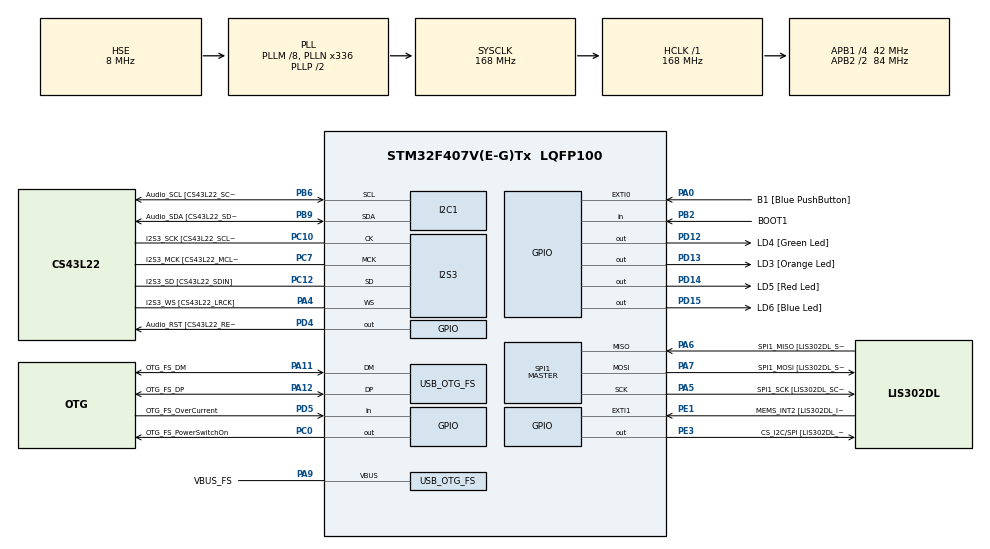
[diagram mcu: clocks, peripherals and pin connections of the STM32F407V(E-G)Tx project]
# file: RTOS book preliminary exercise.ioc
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I2S3.AudioFreq-Half_Duplex_Master=I2S_AUDIOFREQ_96K
I2S3.ErrorAudioFreq=-2.34 %
I2S3.ErrorAudioFreq-Half_Duplex_Master=0.8 %
I2S3.FullDuplexMode=I2S_FULLDUPLEXMODE_DISABLE
I2S3.Instance=SPI$Index
I2S3.RealAudioFreq=93.75 KHz
I2S3.RealAudioFreq-Half_Duplex_Master=96.774 KHz
I2S3.VirtualMode=I2S_MODE_MASTER
Mcu.Family=STM32F4
Mcu.Name=STM32F407V(E-G)Tx
Mcu.Package=LQFP100
NVIC.OTG_FS_IRQn=true\:0\:0\:false\:false\:true\:true\:true\:true
NVIC.PriorityGroup=NVIC_PRIORITYGROUP_0
PA0-WKUP.GPIO_Label=B1 [Blue PushButton]
PA0-WKUP.GPIO_ModeDefaultEXTI=GPIO_MODE_EVT_RISING
PA0-WKUP.GPIO_PuPd=GPIO_NOPULL
PA0-WKUP.Signal=GPXTI0
PA10.GPIO_Label=OTG_FS_ID
PA10.GPIO_Mode=GPIO_MODE_AF_PP
PA10.GPIO_PuPd=GPIO_NOPULL
PA10.GPIO_Speed=GPIO_SPEED_FREQ_LOW
PA10.Signal=USB_OTG_FS_ID
PA11.GPIO_Label=OTG_FS_DM
PA11.GPIO_Mode=GPIO_MODE_AF_PP
PA11.GPIO_PuPd=GPIO_NOPULL
PA11.GPIO_Speed=GPIO_SPEED_FREQ_LOW
PA11.Mode=Host_Only
PA11.Signal=USB_OTG_FS_DM
PA12.GPIO_Label=OTG_FS_DP
PA12.GPIO_Mode=GPIO_MODE_AF_PP
PA12.GPIO_PuPd=GPIO_NOPULL
PA12.GPIO_Speed=GPIO_SPEED_FREQ_LOW
PA12.Mode=Host_Only
PA12.Signal=USB_OTG_FS_DP
PA13.GPIO_Label=SWDIO
PA13.Mode=Serial_Wire
PA13.Signal=SYS_JTMS-SWDIO
PA14.GPIO_Label=SWCLK
PA14.Mode=Serial_Wire
PA14.Signal=SYS_JTCK-SWCLK
PA4.GPIO_Label=I2S3_WS [CS43L22_LRCK]
PA4.GPIO_Mode=GPIO_MODE_AF_PP
PA4.GPIO_PuPd=GPIO_NOPULL
PA4.GPIO_Speed=GPIO_SPEED_FREQ_LOW
PA4.Mode=Half_Duplex_Master
PA4.Signal=I2S3_WS
PA5.GPIO_Label=SPI1_SCK [LIS302DL_SCL/SPC]
PA5.GPIO_Mode=GPIO_MODE_AF_PP
PA5.GPIO_PuPd=GPIO_NOPULL
PA5.GPIO_Speed=GPIO_SPEED_FREQ_LOW
PA5.Mode=Full_Duplex_Master
PA5.Signal=SPI1_SCK
PA6.GPIO_Label=SPI1_MISO [LIS302DL_SDO]
PA6.GPIO_Mode=GPIO_MODE_AF_PP
PA6.GPIO_PuPd=GPIO_NOPULL
PA6.GPIO_Speed=GPIO_SPEED_FREQ_LOW
PA6.Mode=Full_Duplex_Master
PA6.Signal=SPI1_MISO
PA7.GPIO_Label=SPI1_MOSI [LIS302DL_SDA/SDI/SDO]
PA7.GPIO_Mode=GPIO_MODE_AF_PP
PA7.GPIO_PuPd=GPIO_NOPULL
PA7.GPIO_Speed=GPIO_SPEED_FREQ_LOW
PA7.Mode=Full_Duplex_Master
PA7.Signal=SPI1_MOSI
PA9.GPIO_Label=VBUS_FS
PA9.GPIO_Mode=GPIO_MODE_INPUT
PA9.GPIO_PuPd=GPIO_NOPULL
PA9.Mode=Activate_VBUS
PA9.Signal=USB_OTG_FS_VBUS
PB10.GPIO_Label=CLK_IN [MP45DT02_CLK]
PB10.GPIO_Mode=GPIO_MODE_AF_PP
PB10.GPIO_PuPd=GPIO_NOPULL
PB10.GPIO_Speed=GPIO_SPEED_FREQ_LOW
PB10.Signal=I2S2_CK
PB2.GPIO_Label=BOOT1
PB2.GPIO_Mode=GPIO_MODE_INPUT
PB2.GPIO_PuPd=GPIO_NOPULL
PB2.Signal=GPIO_Input
PB3.GPIO_Label=SWO
PB3.Signal=SYS_JTDO-SWO
PB6.GPIO_Label=Audio_SCL [CS43L22_SCL]
PB6.GPIO_Mode=GPIO_MODE_AF_OD
PB6.GPIO_Pu=GPIO_PULLUP
PB6.GPIO_PuPd=GPIO_NOPULL
PB6.GPIO_Speed=GPIO_SPEED_FREQ_LOW
PB6.Mode=I2C
PB6.Signal=I2C1_SCL
PB9.GPIO_Label=Audio_SDA [CS43L22_SDA]
PB9.GPIO_Mode=GPIO_MODE_AF_OD
PB9.GPIO_Pu=GPIO_PULLUP
PB9.GPIO_PuPd=GPIO_NOPULL
PB9.GPIO_Speed=GPIO_SPEED_FREQ_LOW
PB9.Mode=I2C
PB9.Signal=I2C1_SDA
PC0.GPIO_Label=OTG_FS_PowerSwitchOn
PC0.GPIO_PuPd=GPIO_NOPULL
PC0.GPIO_Speed=GPIO_SPEED_FREQ_LOW
PC0.PinState=GPIO_PIN_SET
PC0.Signal=GPIO_Output
PC10.GPIO_Label=I2S3_SCK [CS43L22_SCLK]
PC10.GPIO_Mode=GPIO_MODE_AF_PP
PC10.GPIO_PuPd=GPIO_NOPULL
PC10.GPIO_Speed=GPIO_SPEED_FREQ_LOW
PC10.Mode=Half_Duplex_Master
PC10.Signal=I2S3_CK
PC12.GPIO_Label=I2S3_SD [CS43L22_SDIN]
PC12.GPIO_Mode=GPIO_MODE_AF_PP
PC12.GPIO_PuPd=GPIO_NOPULL
PC12.GPIO_Speed=GPIO_SPEED_FREQ_LOW
PC12.Mode=Half_Duplex_Master
PC12.Signal=I2S3_SD
PC14-OSC32_IN.GPIO_Label=PC14-OSC32_IN
PC14-OSC32_IN.Mode=LSE-External-Oscillator
PC14-OSC32_IN.Signal=RCC_OSC32_IN
PC15-OSC32_OUT.GPIO_Label=PC15-OSC32_OUT
PC15-OSC32_OUT.Mode=LSE-External-Oscillator
PC15-OSC32_OUT.Signal=RCC_OSC32_OUT
PC3.GPIO_Label=PDM_OUT [MP45DT02_DOUT]
PC3.GPIO_Mode=GPIO_MODE_AF_PP
PC3.GPIO_PuPd=GPIO_NOPULL
PC3.GPIO_Speed=GPIO_SPEED_FREQ_LOW
PC3.Signal=I2S2_SD
PC7.GPIO_Label=I2S3_MCK [CS43L22_MCLK]
PC7.GPIO_Mode=GPIO_MODE_AF_PP
PC7.GPIO_PuPd=GPIO_NOPULL
PC7.GPIO_Speed=GPIO_SPEED_FREQ_LOW
PC7.Mode=Master_Clock_Activated
PC7.Signal=I2S3_MCK
PD12.GPIO_Label=LD4 [Green Led]
PD12.GPIO_PuPd=GPIO_NOPULL
PD12.GPIO_Speed=GPIO_SPEED_FREQ_LOW
PD12.Signal=GPIO_Output
PD13.GPIO_Label=LD3 [Orange Led]
PD13.GPIO_PuPd=GPIO_NOPULL
PD13.GPIO_Speed=GPIO_SPEED_FREQ_LOW
PD13.Signal=GPIO_Output
PD14.GPIO_Label=LD5 [Red Led]
PD14.GPIO_PuPd=GPIO_NOPULL
PD14.GPIO_Speed=GPIO_SPEED_FREQ_LOW
PD14.Signal=GPIO_Output
PD15.GPIO_Label=LD6 [Blue Led]
PD15.GPIO_PuPd=GPIO_NOPULL
PD15.GPIO_Speed=GPIO_SPEED_FREQ_LOW
PD15.Signal=GPIO_Output
PD4.GPIO_Label=Audio_RST [CS43L22_RESET]
PD4.GPIO_PuPd=GPIO_NOPULL
PD4.GPIO_Speed=GPIO_SPEED_FREQ_LOW
PD4.Signal=GPIO_Output
PD5.GPIO_Label=OTG_FS_OverCurrent
PD5.GPIO_Mode=GPIO_MODE_INPUT
PD5.GPIO_PuPd=GPIO_NOPULL
PD5.Signal=GPIO_Input
PE1.GPIO_Label=MEMS_INT2 [LIS302DL_INT2]
PE1.GPIO_ModeDefaultEXTI=GPIO_MODE_EVT_RISING
PE1.GPIO_PuPd=GPIO_NOPULL
PE1.Signal=GPXTI1
PE3.GPIO_Label=CS_I2C/SPI [LIS302DL_CS_I2C/SPI]
PE3.GPIO_PuPd=GPIO_NOPULL
PE3.GPIO_Speed=GPIO_SPEED_FREQ_LOW
PE3.Signal=GPIO_Output
PH0-OSC_IN.GPIO_Label=PH0-OSC_IN
PH0-OSC_IN.Mode=HSE-External-Oscillator
PH0-OSC_IN.Signal=RCC_OSC_IN
PH1-OSC_OUT.GPIO_Label=PH1-OSC_OUT
PH1-OSC_OUT.Mode=HSE-External-Oscillator
PH1-OSC_OUT.Signal=RCC_OSC_OUT
ProjectManager.HeapSize=0x200
ProjectManager.StackSize=0x400
ProjectManager.TargetToolchain=Makefile
RCC.48MHZClocksFreq_Value=48000000
RCC.AHBFreq_Value=168000000
RCC.APB1CLKDivider=RCC_HCLK_DIV4
RCC.APB1Freq_Value=42000000
RCC.APB1TimFreq_Value=84000000
RCC.APB2CLKDivider=RCC_HCLK_DIV2
RCC.APB2Freq_Value=84000000
RCC.APB2TimFreq_Value=168000000
RCC.CortexFreq_Value=168000000
RCC.HCLKFreq_Value=168000000
RCC.HSE_VALUE=8000000
RCC.HSI_VALUE=16000000
RCC.PLLM=8
RCC.PLLN=336
RCC.PLLQ=7
RCC.SYSCLKFreq_VALUE=168000000
RCC.SYSCLKSource=RCC_SYSCLKSOURCE_PLLCLK
RCC.VCOOutputFreq_Value=336000000
SPI1.BaudRatePrescaler-Full_Duplex_Master=SPI_BAUDRATEPRESCALER_2
SPI1.CalculateBaudRate-Full_Duplex_Master=42.0 MBits/s
SPI1.Direction=SPI_DIRECTION_2LINES
SPI1.Mode=SPI_MODE_MASTER
SPI1.Mode-Full_Duplex_Master=SPI_MODE_MASTER
SPI1.VirtualType=VM_MASTER
USB_HOST.BSP.number=1
USB_HOST.USBH_HandleTypeDef-CDC_FS=hUsbHostFS
USB_HOST.VirtualModeFS=Cdc
USB_HOST0.BSP.STBoard=false
USB_HOST0.BSP.api=UnknownBspDriver
USB_HOST0.BSP.instance=PC0
USB_HOST0.BSP.ip=GPIO
USB_HOST0.BSP.mode=Output
USB_HOST0.BSP.name=Drive_VBUS_FS
USB_HOST0.BSP.solution=PC0
USB_OTG_FS.VirtualMode=Host_Only
USB_OTG_FS.phy_itface=HCD_PHY_EMBEDDED
VP_USB_HOST_VS_USB_HOST_CDC_FS.Mode=CDC_FS
board=STM32F407G-DISC1

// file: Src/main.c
/* USER CODE BEGIN Header */
/**
  ******************************************************************************
  * @file           : main.c
  * @brief          : Main program body
  ******************************************************************************
  * @attention
  *
  * Copyright (c) 2023 STMicroelectronics.
  * All rights reserved.
  *
  * This software is licensed under terms that can be found in the LICENSE file
  * in the root directory of this software component.
  * If no LICENSE file comes with this software, it is provided AS-IS.
  *
  ******************************************************************************
  */
/* USER CODE END Header */
//#include "main.h"
//#include "usb_host.h"

/* USER CODE BEGIN PD */
#define CS_I2C_SPI_Pin GPIO_PIN_3
#define CS_I2C_SPI_GPIO_Port GPIOE
#define PC14_OSC32_IN_Pin GPIO_PIN_14
#define PC14_OSC32_IN_GPIO_Port GPIOC
#define PC15_OSC32_OUT_Pin GPIO_PIN_15
#define PC15_OSC32_OUT_GPIO_Port GPIOC
#define PH0_OSC_IN_Pin GPIO_PIN_0
#define PH0_OSC_IN_GPIO_Port GPIOH
#define PH1_OSC_OUT_Pin GPIO_PIN_1
#define PH1_OSC_OUT_GPIO_Port GPIOH
#define OTG_FS_PowerSwitchOn_Pin GPIO_PIN_0
#define OTG_FS_PowerSwitchOn_GPIO_Port GPIOC
#define PDM_OUT_Pin GPIO_PIN_3
#define PDM_OUT_GPIO_Port GPIOC
#define B1_Pin GPIO_PIN_0
#define B1_GPIO_Port GPIOA
#define I2S3_WS_Pin GPIO_PIN_4
#define I2S3_WS_GPIO_Port GPIOA
#define SPI1_SCK_Pin GPIO_PIN_5
#define SPI1_SCK_GPIO_Port GPIOA
#define SPI1_MISO_Pin GPIO_PIN_6
#define SPI1_MISO_GPIO_Port GPIOA
#define SPI1_MOSI_Pin GPIO_PIN_7
#define SPI1_MOSI_GPIO_Port GPIOA
#define BOOT1_Pin GPIO_PIN_2
#define BOOT1_GPIO_Port GPIOB
#define CLK_IN_Pin GPIO_PIN_10
#define CLK_IN_GPIO_Port GPIOB
#define LD4_Pin GPIO_PIN_12
#define LD4_GPIO_Port GPIOD
#define LD3_Pin GPIO_PIN_13
#define LD3_GPIO_Port GPIOD
#define LD5_Pin GPIO_PIN_14
#define LD5_GPIO_Port GPIOD
#define LD6_Pin GPIO_PIN_15
#define LD6_GPIO_Port GPIOD
#define I2S3_MCK_Pin GPIO_PIN_7
#define I2S3_MCK_GPIO_Port GPIOC
#define VBUS_FS_Pin GPIO_PIN_9
#define VBUS_FS_GPIO_Port GPIOA
#define OTG_FS_ID_Pin GPIO_PIN_10
#define OTG_FS_ID_GPIO_Port GPIOA
#define OTG_FS_DM_Pin GPIO_PIN_11
#define OTG_FS_DM_GPIO_Port GPIOA
#define OTG_FS_DP_Pin GPIO_PIN_12
#define OTG_FS_DP_GPIO_Port GPIOA
#define SWDIO_Pin GPIO_PIN_13
#define SWDIO_GPIO_Port GPIOA
#define SWCLK_Pin GPIO_PIN_14
#define SWCLK_GPIO_Port GPIOA
#define I2S3_SCK_Pin GPIO_PIN_10
#define I2S3_SCK_GPIO_Port GPIOC
#define I2S3_SD_Pin GPIO_PIN_12
#define I2S3_SD_GPIO_Port GPIOC
#define Audio_RST_Pin GPIO_PIN_4
#define Audio_RST_GPIO_Port GPIOD
#define OTG_FS_OverCurrent_Pin GPIO_PIN_5
#define OTG_FS_OverCurrent_GPIO_Port GPIOD
#define SWO_Pin GPIO_PIN_3
#define SWO_GPIO_Port GPIOB
#define Audio_SCL_Pin GPIO_PIN_6
#define Audio_SCL_GPIO_Port GPIOB
#define Audio_SDA_Pin GPIO_PIN_9
#define Audio_SDA_GPIO_Port GPIOB
#define MEMS_INT2_Pin GPIO_PIN_1
#define MEMS_INT2_GPIO_Port GPIOE

/* USER CODE END PD */

I2C_HandleTypeDef hi2c1;

I2S_HandleTypeDef hi2s3;

SPI_HandleTypeDef hspi1;

void SystemClock_Config(void);
static void MX_GPIO_Init(void);
static void MX_I2C1_Init(void);
static void MX_I2S3_Init(void);
static void MX_SPI1_Init(void);
void MX_USB_HOST_Process(void);

int main(void)
{

  /* MCU Configuration--------------------------------------------------------*/

  /* Reset of all peripherals, Initializes the Flash interface and the Systick. */
  HAL_Init();

  /* Configure the system clock */
  SystemClock_Config();

  /* Initialize all configured peripherals */
  MX_GPIO_Init();
  MX_I2C1_Init();
  MX_I2S3_Init();
  MX_SPI1_Init();
  MX_USB_HOST_Init();

  /* Infinite loop */
  while (1)
  {
    MX_USB_HOST_Process();

  }
}

void SystemClock_Config(void)
{
  RCC_OscInitTypeDef RCC_OscInitStruct = {0};
  RCC_ClkInitTypeDef RCC_ClkInitStruct = {0};

  /** Configure the main internal regulator output voltage
  */
  __HAL_RCC_PWR_CLK_ENABLE();
  __HAL_PWR_VOLTAGESCALING_CONFIG(PWR_REGULATOR_VOLTAGE_SCALE1);

  /** Initializes the RCC Oscillators according to the specified parameters
  * in the RCC_OscInitTypeDef structure.
  */
  RCC_OscInitStruct.OscillatorType = RCC_OSCILLATORTYPE_HSE;
  RCC_OscInitStruct.HSEState = RCC_HSE_ON;
  RCC_OscInitStruct.PLL.PLLState = RCC_PLL_ON;
  RCC_OscInitStruct.PLL.PLLSource = RCC_PLLSOURCE_HSE;
  RCC_OscInitStruct.PLL.PLLM = 8;
  RCC_OscInitStruct.PLL.PLLN = 336;
  RCC_OscInitStruct.PLL.PLLP = RCC_PLLP_DIV2;
  RCC_OscInitStruct.PLL.PLLQ = 7;
  if (HAL_RCC_OscConfig(&RCC_OscInitStruct) != HAL_OK)
  {
    Error_Handler();
  }

  /** Initializes the CPU, AHB and APB buses clocks
  */
  RCC_ClkInitStruct.ClockType = RCC_CLOCKTYPE_HCLK|RCC_CLOCKTYPE_SYSCLK
                              |RCC_CLOCKTYPE_PCLK1|RCC_CLOCKTYPE_PCLK2;
  RCC_ClkInitStruct.SYSCLKSource = RCC_SYSCLKSOURCE_PLLCLK;
  RCC_ClkInitStruct.AHBCLKDivider = RCC_SYSCLK_DIV1;
  RCC_ClkInitStruct.APB1CLKDivider = RCC_HCLK_DIV4;
  RCC_ClkInitStruct.APB2CLKDivider = RCC_HCLK_DIV2;

  if (HAL_RCC_ClockConfig(&RCC_ClkInitStruct, FLASH_LATENCY_5) != HAL_OK)
  {
    Error_Handler();
  }
}

static void MX_I2C1_Init(void)
{

  hi2c1.Instance = I2C1;
  hi2c1.Init.ClockSpeed = 100000;
  hi2c1.Init.DutyCycle = I2C_DUTYCYCLE_2;
  hi2c1.Init.OwnAddress1 = 0;
  hi2c1.Init.AddressingMode = I2C_ADDRESSINGMODE_7BIT;
  hi2c1.Init.DualAddressMode = I2C_DUALADDRESS_DISABLE;
  hi2c1.Init.OwnAddress2 = 0;
  hi2c1.Init.GeneralCallMode = I2C_GENERALCALL_DISABLE;
  hi2c1.Init.NoStretchMode = I2C_NOSTRETCH_DISABLE;
  if (HAL_I2C_Init(&hi2c1) != HAL_OK)
  {
    Error_Handler();
  }

}

static void MX_I2S3_Init(void)
{

  hi2s3.Instance = SPI3;
  hi2s3.Init.Mode = I2S_MODE_MASTER_TX;
  hi2s3.Init.Standard = I2S_STANDARD_PHILIPS;
  hi2s3.Init.DataFormat = I2S_DATAFORMAT_16B;
  hi2s3.Init.MCLKOutput = I2S_MCLKOUTPUT_ENABLE;
  hi2s3.Init.AudioFreq = I2S_AUDIOFREQ_96K;
  hi2s3.Init.CPOL = I2S_CPOL_LOW;
  hi2s3.Init.ClockSource = I2S_CLOCK_PLL;
  hi2s3.Init.FullDuplexMode = I2S_FULLDUPLEXMODE_DISABLE;
  if (HAL_I2S_Init(&hi2s3) != HAL_OK)
  {
    Error_Handler();
  }

}

static void MX_SPI1_Init(void)
{

  /* SPI1 parameter configuration*/
  hspi1.Instance = SPI1;
  hspi1.Init.Mode = SPI_MODE_MASTER;
  hspi1.Init.Direction = SPI_DIRECTION_2LINES;
  hspi1.Init.DataSize = SPI_DATASIZE_8BIT;
  hspi1.Init.CLKPolarity = SPI_POLARITY_LOW;
  hspi1.Init.CLKPhase = SPI_PHASE_1EDGE;
  hspi1.Init.NSS = SPI_NSS_SOFT;
  hspi1.Init.BaudRatePrescaler = SPI_BAUDRATEPRESCALER_2;
  hspi1.Init.FirstBit = SPI_FIRSTBIT_MSB;
  hspi1.Init.TIMode = SPI_TIMODE_DISABLE;
  hspi1.Init.CRCCalculation = SPI_CRCCALCULATION_DISABLE;
  hspi1.Init.CRCPolynomial = 10;
  if (HAL_SPI_Init(&hspi1) != HAL_OK)
  {
    Error_Handler();
  }

}

static void MX_GPIO_Init(void)
{
  GPIO_InitTypeDef GPIO_InitStruct = {0};

  /* GPIO Ports Clock Enable */
  __HAL_RCC_GPIOE_CLK_ENABLE();
  __HAL_RCC_GPIOC_CLK_ENABLE();
  __HAL_RCC_GPIOH_CLK_ENABLE();
  __HAL_RCC_GPIOA_CLK_ENABLE();
  __HAL_RCC_GPIOB_CLK_ENABLE();
  __HAL_RCC_GPIOD_CLK_ENABLE();

  /*Configure GPIO pin Output Level */
  HAL_GPIO_WritePin(CS_I2C_SPI_GPIO_Port, CS_I2C_SPI_Pin, GPIO_PIN_RESET);

  /*Configure GPIO pin Output Level */
  HAL_GPIO_WritePin(OTG_FS_PowerSwitchOn_GPIO_Port, OTG_FS_PowerSwitchOn_Pin, GPIO_PIN_SET);

  /*Configure GPIO pin Output Level */
  HAL_GPIO_WritePin(GPIOD, LD4_Pin|LD3_Pin|LD5_Pin|LD6_Pin
                          |Audio_RST_Pin, GPIO_PIN_RESET);

  /*Configure GPIO pin : CS_I2C_SPI_Pin */
  GPIO_InitStruct.Pin = CS_I2C_SPI_Pin;
  GPIO_InitStruct.Mode = GPIO_MODE_OUTPUT_PP;
  GPIO_InitStruct.Pull = GPIO_NOPULL;
  GPIO_InitStruct.Speed = GPIO_SPEED_FREQ_LOW;
  HAL_GPIO_Init(CS_I2C_SPI_GPIO_Port, &GPIO_InitStruct);

  /*Configure GPIO pin : OTG_FS_PowerSwitchOn_Pin */
  GPIO_InitStruct.Pin = OTG_FS_PowerSwitchOn_Pin;
  GPIO_InitStruct.Mode = GPIO_MODE_OUTPUT_PP;
  GPIO_InitStruct.Pull = GPIO_NOPULL;
  GPIO_InitStruct.Speed = GPIO_SPEED_FREQ_LOW;
  HAL_GPIO_Init(OTG_FS_PowerSwitchOn_GPIO_Port, &GPIO_InitStruct);

  /*Configure GPIO pin : PDM_OUT_Pin */
  GPIO_InitStruct.Pin = PDM_OUT_Pin;
  GPIO_InitStruct.Mode = GPIO_MODE_AF_PP;
  GPIO_InitStruct.Pull = GPIO_NOPULL;
  GPIO_InitStruct.Speed = GPIO_SPEED_FREQ_LOW;
  GPIO_InitStruct.Alternate = GPIO_AF5_SPI2;
  HAL_GPIO_Init(PDM_OUT_GPIO_Port, &GPIO_InitStruct);

  /*Configure GPIO pin : B1_Pin */
  GPIO_InitStruct.Pin = B1_Pin;
  GPIO_InitStruct.Mode = GPIO_MODE_EVT_RISING;
  GPIO_InitStruct.Pull = GPIO_NOPULL;
  HAL_GPIO_Init(B1_GPIO_Port, &GPIO_InitStruct);

  /*Configure GPIO pin : BOOT1_Pin */
  GPIO_InitStruct.Pin = BOOT1_Pin;
  GPIO_InitStruct.Mode = GPIO_MODE_INPUT;
  GPIO_InitStruct.Pull = GPIO_NOPULL;
  HAL_GPIO_Init(BOOT1_GPIO_Port, &GPIO_InitStruct);

  /*Configure GPIO pin : CLK_IN_Pin */
  GPIO_InitStruct.Pin = CLK_IN_Pin;
  GPIO_InitStruct.Mode = GPIO_MODE_AF_PP;
  GPIO_InitStruct.Pull = GPIO_NOPULL;
  GPIO_InitStruct.Speed = GPIO_SPEED_FREQ_LOW;
  GPIO_InitStruct.Alternate = GPIO_AF5_SPI2;
  HAL_GPIO_Init(CLK_IN_GPIO_Port, &GPIO_InitStruct);

  /*Configure GPIO pins : LD4_Pin LD3_Pin LD5_Pin LD6_Pin
                           Audio_RST_Pin */
  GPIO_InitStruct.Pin = LD4_Pin|LD3_Pin|LD5_Pin|LD6_Pin
                          |Audio_RST_Pin;
  GPIO_InitStruct.Mode = GPIO_MODE_OUTPUT_PP;
  GPIO_InitStruct.Pull = GPIO_NOPULL;
  GPIO_InitStruct.Speed = GPIO_SPEED_FREQ_LOW;
  HAL_GPIO_Init(GPIOD, &GPIO_InitStruct);

  /*Configure GPIO pin : OTG_FS_OverCurrent_Pin */
  GPIO_InitStruct.Pin = OTG_FS_OverCurrent_Pin;
  GPIO_InitStruct.Mode = GPIO_MODE_INPUT;
  GPIO_InitStruct.Pull = GPIO_NOPULL;
  HAL_GPIO_Init(OTG_FS_OverCurrent_GPIO_Port, &GPIO_InitStruct);

  /*Configure GPIO pin : MEMS_INT2_Pin */
  GPIO_InitStruct.Pin = MEMS_INT2_Pin;
  GPIO_InitStruct.Mode = GPIO_MODE_EVT_RISING;
  GPIO_InitStruct.Pull = GPIO_NOPULL;
  HAL_GPIO_Init(MEMS_INT2_GPIO_Port, &GPIO_InitStruct);

}

void Error_Handler(void)
{
  __disable_irq();
  while (1)
  {
  }
}
